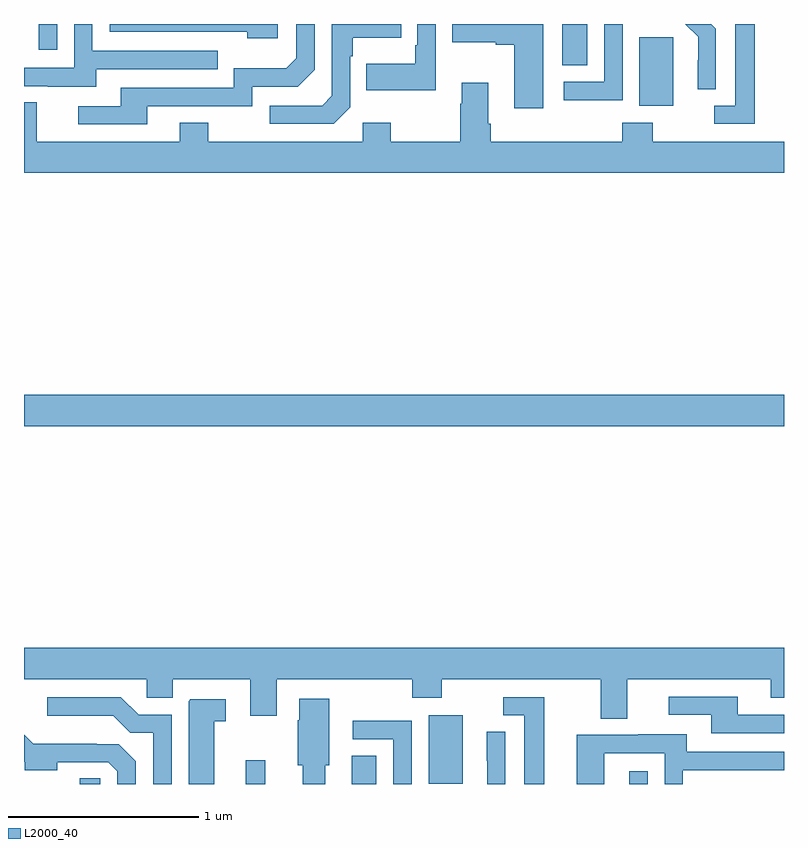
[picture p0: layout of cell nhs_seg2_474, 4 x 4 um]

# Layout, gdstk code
import gdstk
lib = gdstk.Library(unit=1e-6, precision=1e-09)
def R(c, l, rs):  # rectangles x0, y0, x1, y1
    for r in rs: c.add(gdstk.rectangle(r[:2], r[2:], *l))
def P(c, l, *ps):  # polygons
    for p in ps: c.add(gdstk.Polygon(p, *l))
L2000_40 = (2000, 40)

nhs_seg2_474 = lib.new_cell('nhs_seg2_474')
R(nhs_seg2_474, L2000_40, [(135.294,597.8,135.402,597.83), (136.166,597.8,136.27,597.925), (136.724,597.8,136.855,597.95), (138.185,597.8,138.282,597.868), (137.129,597.801,137.308,598.162), (135,599.684,139,599.848), (138.239,601.37,138.418,601.731), (137.834,601.582,137.965,601.8), (135.077,601.665,135.174,601.8)])
P(nhs_seg2_474, L2000_40, [(137.166,601.8),(137.07,601.8),(137.07,601.687),(137.058,601.687),(137.058,601.591),(136.801,601.591),(136.801,601.451),(137.166,601.451)],
  [(136.336,601.8),(135.45,601.8),(135.45,601.758),(136.175,601.758),(136.175,601.724),(136.336,601.724)],
  [(135.649,601.368),(136.2,601.368),(136.2,601.47),(136.44,601.47),(136.53,601.56),(136.53,601.8),(136.434,601.8),(136.434,601.62),(136.381,601.567),(136.104,601.567),(136.104,601.464),(135.509,601.464),(135.509,601.368),(135.285,601.368),(135.285,601.272),(135.649,601.272)],
  [(138.847,601.8),(138.743,601.8),(138.743,601.371),(138.633,601.371),(138.633,601.275),(138.847,601.275)],
  [(135.379,601.563),(136.019,601.563),(136.019,601.659),(135.36,601.659),(135.36,601.8),(135.264,601.8),(135.264,601.569),(135,601.569),(135,601.473),(135.125,601.473),(135.125,601.469),(135.379,601.469)],
  [(137.734,601.8),(137.253,601.8),(137.253,601.703),(137.483,601.703),(137.483,601.691),(137.579,601.691),(137.579,601.356),(137.734,601.356)],
  [(136.716,601.362),(136.716,601.631),(136.729,601.631),(136.729,601.727),(136.985,601.727),(136.985,601.8),(136.62,601.8),(136.62,601.422),(136.569,601.371),(136.293,601.371),(136.293,601.275),(136.629,601.275)],
  [(138.15,601.8),(138.054,601.8),(138.054,601.497),(137.841,601.497),(137.841,601.399),(138.15,601.399)],
  [(138.642,601.774),(138.616,601.8),(138.48,601.8),(138.548,601.733),(138.548,601.61),(138.546,601.61),(138.546,601.456),(138.642,601.456)],
  [(139,601.18),(138.309,601.18),(138.309,601.279),(138.149,601.279),(138.149,601.18),(137.456,601.18),(137.456,601.276),(137.443,601.276),(137.443,601.492),(137.303,601.492),(137.303,601.379),(137.296,601.379),(137.296,601.18),(136.929,601.18),(136.929,601.279),(136.782,601.279),(136.782,601.18),(135.969,601.18),(135.969,601.279),(135.821,601.279),(135.821,601.18),(135.067,601.18),(135.067,601.388),(135,601.388),(135,601.016),(139,601.016)],
  [(138.175,598.352),(138.929,598.352),(138.929,598.253),(139,598.253),(139,598.516),(135,598.516),(135,598.352),(135.645,598.352),(135.645,598.254),(135.784,598.254),(135.784,598.352),(136.19,598.352),(136.19,598.158),(136.33,598.158),(136.33,598.352),(137.044,598.352),(137.044,598.253),(137.199,598.253),(137.199,598.352),(138.035,598.352),(138.035,598.144),(138.175,598.144)],
  [(139,598.164),(138.757,598.164),(138.757,598.26),(138.393,598.26),(138.393,598.164),(138.617,598.164),(138.617,598.068),(139,598.068)],
  [(137.737,598.257),(137.523,598.257),(137.523,598.161),(137.633,598.161),(137.633,597.8),(137.737,597.8)],
  [(135.777,598.164),(135.603,598.164),(135.51,598.257),(135.123,598.257),(135.123,598.16),(135.469,598.16),(135.56,598.069),(135.681,598.069),(135.681,597.8),(135.777,597.8)],
  [(136.585,597.9),(136.606,597.9),(136.606,598.249),(136.448,598.249),(136.448,598.136),(136.441,598.136),(136.441,597.9),(136.466,597.9),(136.466,597.8),(136.585,597.8)],
  [(136,598.129),(136.063,598.129),(136.063,598.245),(135.876,598.245),(135.866,598.235),(135.866,597.8),(136,597.8)],
  [(137.04,598.134),(136.731,598.134),(136.731,598.035),(136.944,598.035),(136.944,597.8),(137.04,597.8)],
  [(137.532,598.076),(137.436,598.076),(137.436,597.922),(137.438,597.922),(137.438,597.8),(137.532,597.8)],
  [(138.054,597.963),(138.372,597.963),(138.372,597.8),(138.468,597.8),(138.468,597.873),(139,597.873),(139,597.969),(138.487,597.969),(138.487,598.063),(138.233,598.063),(138.233,598.059),(137.909,598.059),(137.909,597.8),(138.054,597.8)],
  [(135.588,597.921),(135.499,598.01),(135.383,598.01),(135.383,598.012),(135.049,598.012),(135,598.06),(135,597.916),(135.004,597.912),(135.004,597.872),(135.175,597.872),(135.175,597.915),(135.444,597.915),(135.492,597.867),(135.492,597.8),(135.588,597.8)])

lib.write_gds('nhs_seg2_474.gds')
